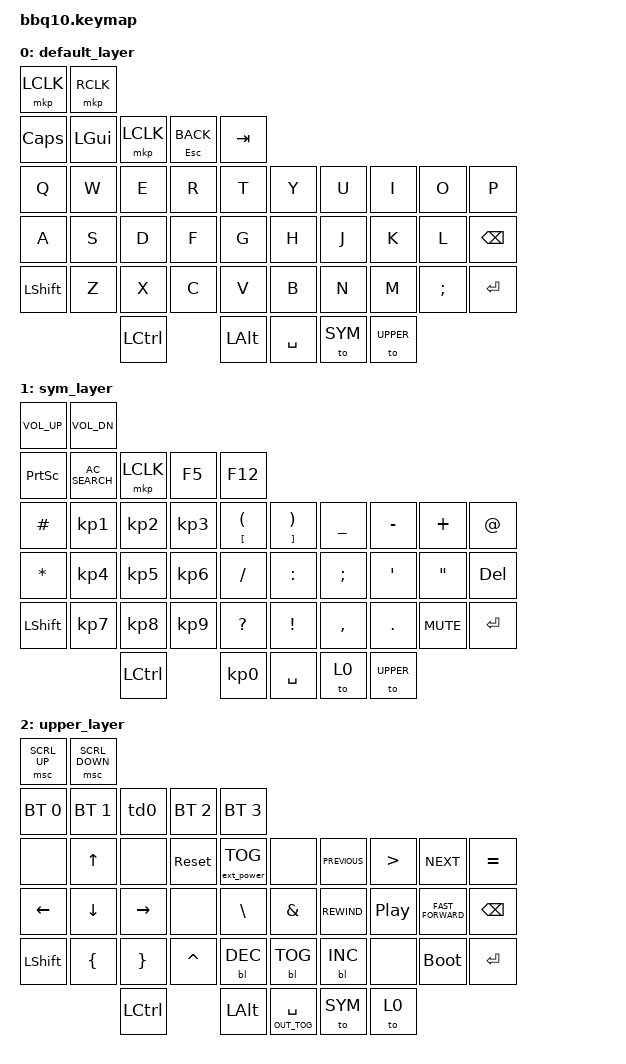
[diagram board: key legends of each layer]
/*
 * Copyright (c) 2023 ZitaoTech
 *
 * SPDX-License-Identifier: MIT
 */

#include <dt-bindings/zmk/mouse.h>
#include <behaviors.dtsi>
#include <dt-bindings/zmk/backlight.h>
#include <dt-bindings/zmk/bt.h>
#include <dt-bindings/zmk/ext_power.h>
#include <dt-bindings/zmk/keys.h>
#include <dt-bindings/zmk/outputs.h>
#include <dt-bindings/zmk/pointing.h>

#define SYM 1
#define UPPER 2

/ {
    behaviors {
        td0: tap_dance_0 {
            compatible = "zmk,behavior-tap-dance";
            #binding-cells = <0>;
            tapping-term-ms = <400>;
            bindings = <&mkp LCLK>, <&bt BT_CLR>;
        };
    };

    behaviors {
        hm: homerow_mods {
            compatible = "zmk,behavior-hold-tap";
            #binding-cells = <2>;
            tapping-term-ms = <500>;
            bindings = <&out &kp>;
        };
    };

    behaviors {
        bhm: balanced_homerow_mods {
            compatible = "zmk,behavior-hold-tap";
            #binding-cells = <2>;
            flavor = "balanced";
            tapping-term-ms = <400>;
            bindings = <&ext_power>, <&kp>;
        };
    };

    keymap {
        compatible = "zmk,keymap";

        default_layer {
            bindings = <
&mkp LCLK  &mkp RCLK
&kp CLCK   &kp LGUI   &mkp LCLK  &mt ESC K_BACK  &kp TAB
&kp Q      &kp W      &kp E      &kp R           &kp T     &kp Y        &kp U    &kp I      &kp O     &kp P
&kp A      &kp S      &kp D      &kp F           &kp G     &kp H        &kp J    &kp K      &kp L     &kp BSPC
&kp LSHFT  &kp Z      &kp X      &kp C           &kp V     &kp B        &kp N    &kp M      &kp SEMI  &kp ENTER
                      &kp LCTRL                  &kp LALT  &kp SPACE    &to SYM  &to UPPER
            >;
        };

        sym_layer {
            bindings = <
&kp C_VOL_UP  &kp C_VOL_DN
&kp PSCRN     &kp C_AC_SEARCH  &mkp LCLK  &kp F5     &kp F12
&kp HASH      &kp KP_N1        &kp KP_N2  &kp KP_N3  &mt LBKT LPAR  &mt RBKT RPAR    &kp UNDER  &kp MINUS  &kp PLUS    &kp AT
&kp STAR      &kp KP_N4        &kp KP_N5  &kp KP_N6  &kp SLASH      &kp COLON        &kp SEMI   &kp APOS   &kp DQT     &kp DEL
&kp LSHFT     &kp KP_N7        &kp KP_N8  &kp KP_N9  &kp QMARK      &kp EXCL         &kp COMMA  &kp DOT    &kp C_MUTE  &kp ENTER
                               &kp LCTRL             &kp KP_N0      &kp SPACE        &to 0      &to UPPER
            >;
        };

        upper_layer {
            bindings = <
&msc SCRL_UP  &msc SCRL_DOWN
&bt BT_SEL 0  &bt BT_SEL 1    &td0       &bt BT_SEL 2  &bt BT_SEL 3
&none         &kp UP          &none      &sys_reset    &ext_power EP_TOG  &none                &kp C_PREVIOUS  &kp GT            &kp C_NEXT          &kp EQUAL
&kp LEFT      &kp DOWN        &kp RIGHT  &none         &kp BSLH           &kp AMPS             &kp C_REWIND    &kp C_PLAY_PAUSE  &kp C_FAST_FORWARD  &kp BSPC
&kp LSHFT     &kp LBRC        &kp RBRC   &kp CARET     &bl BL_DEC         &bl BL_TOG           &bl BL_INC      &none             &bootloader         &kp ENTER
                              &kp LCTRL                &kp LALT           &hm OUT_TOG SPACE    &to SYM         &to 0
            >;
        };
    };
};
